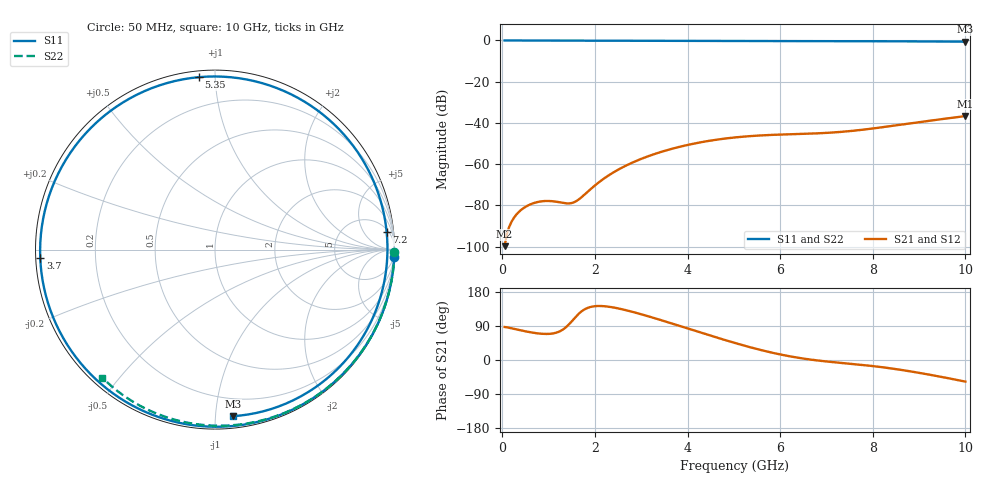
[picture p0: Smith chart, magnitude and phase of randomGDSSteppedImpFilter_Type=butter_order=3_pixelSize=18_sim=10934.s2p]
! freq	dB(S11)	phase(S11)	dB(S12)	phase(S12)
!  dB(S21)	phase(S21)	dB(S22)	phase(S22)
!S-par simulation data
#  GHz  S  DB  R 50
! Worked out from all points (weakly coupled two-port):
!   200 points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, 50 MHz to 10 GHz, reference 50 ohm
!   highest |S21| = -36.67 dB at 10 GHz (marker M1); lowest = -99.8 dB at 50 MHz (marker M2)
!   lowest |S11| = -0.6 dB at 10 GHz (marker M3), VSWR 29.03, Z = 3.85 - j55.6 ohm
!   |S11| at or under -10 dB: nowhere
!   |S22| runs from -0.4 to 0.0 dB; largest |S21 - S12| = 0
!   S11 on the Smith chart (normalised r, x): 50 MHz: 1, -47; 3.7 GHz: 0.01, -0.02; 5.35 GHz: 0.03, +0.91; 7.2 GHz: 7, +17; 10 GHz: 0.08, -1.11
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0.05  -0.01 -2.4  -99.76 87.1  -99.76 87.1  -0.00 -0.8
0.55  -0.03 -26.2  -80.08 74.5  -80.08 74.5  -0.01 -8.3
0.8  -0.04 -38.0  -78.18 69.8  -78.18 69.8  -0.01 -12.1
1.45  -0.09 -68.6  -79.03 95.4  -79.03 95.4  -0.03 -21.8
1.75  -0.10 -82.7  -75.26 131.7  -75.26 131.7  -0.03 -26.2
2.15  -0.13 -101.5  -67.70 142.4  -67.70 142.4  -0.04 -32.0
2.55  -0.15 -120.6  -62.08 134.9  -62.08 134.9  -0.05 -37.8
3  -0.18 -142.3  -57.43 120.7  -57.43 120.7  -0.06 -44.2
3.4  -0.20 -162.1  -54.26 106.3  -54.26 106.3  -0.07 -49.8
3.7  -0.22 -177.3  -52.31 94.9  -52.31 94.9  -0.07 -54.0
4  -0.24 167.3  -50.68 83.4  -50.68 83.4  -0.08 -58.1
4.35  -0.26 148.9  -49.12 69.9  -49.12 69.9  -0.09 -62.9
5.05  -0.30 111.4  -46.97 44.0  -46.97 44.0  -0.11 -72.1
5.35  -0.31 95.3  -46.39 33.8  -46.39 33.8  -0.12 -76.0
5.95  -0.32 63.9  -45.68 16.0  -45.68 16.0  -0.14 -83.7
6.35  -0.33 44.0  -45.40 6.7  -45.40 6.7  -0.16 -88.7
6.7  -0.33 27.5  -45.14 0.4  -45.14 0.4  -0.18 -93.0
7.2  -0.34 5.7  -44.54 -6.3  -44.54 -6.3  -0.21 -99.0
7.75  -0.36 -15.8  -43.37 -12.7  -43.37 -12.7  -0.24 -105.6
8.35  -0.40 -36.8  -41.65 -21.4  -41.65 -21.4  -0.29 -112.6
9.15  -0.48 -61.2  -39.17 -37.1  -39.17 -37.1  -0.36 -121.7
10  -0.60 -83.8  -36.67 -57.0  -36.67 -57.0  -0.44 -131.3
